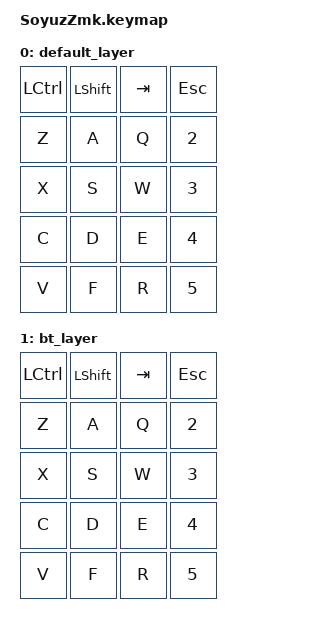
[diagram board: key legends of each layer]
#include <behaviors.dtsi>
#include <dt-bindings/zmk/keys.h>
#include <dt-bindings/zmk/bt.h>

#define DEFAULT 0
#define BLUE    1

/ {
	keymap {
		compatible = "zmk,keymap";
		
		default_layer {
			bindings = <
			&kp LCTRL     &kp LSHIFT     &kp TAB   &kp ESC
			&kp Z         &kp A          &kp Q     &kp N2
			&kp X         &kp S          &kp W     &kp N3
			&kp C         &kp D          &kp E     &kp N4
			&kp V         &kp F          &kp R     &kp N5
			>;
		};
		
		bt_layer {
			bindings = <
			&kp LCTRL     &kp LSHIFT     &kp TAB   &kp ESC
			&kp Z         &kp A          &kp Q     &kp N2
			&kp X         &kp S          &kp W     &kp N3
			&kp C         &kp D          &kp E     &kp N4
			&kp V         &kp F          &kp R     &kp N5
			>;
		};
		
		extra0 {
			status = "reserved";
		};
		
		extra1 {
			status = "reserved";
		};
		
		extra2 {
			status = "reserved";
		};
	};
};

/ {
	combos {
		compatible = "zmk,combos";
		combo_studio_unlock {
			timeout-ms = <50>;
			key-positions = <0 1>;
			bindings = <&studio_unlock>;
		};
	};
};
